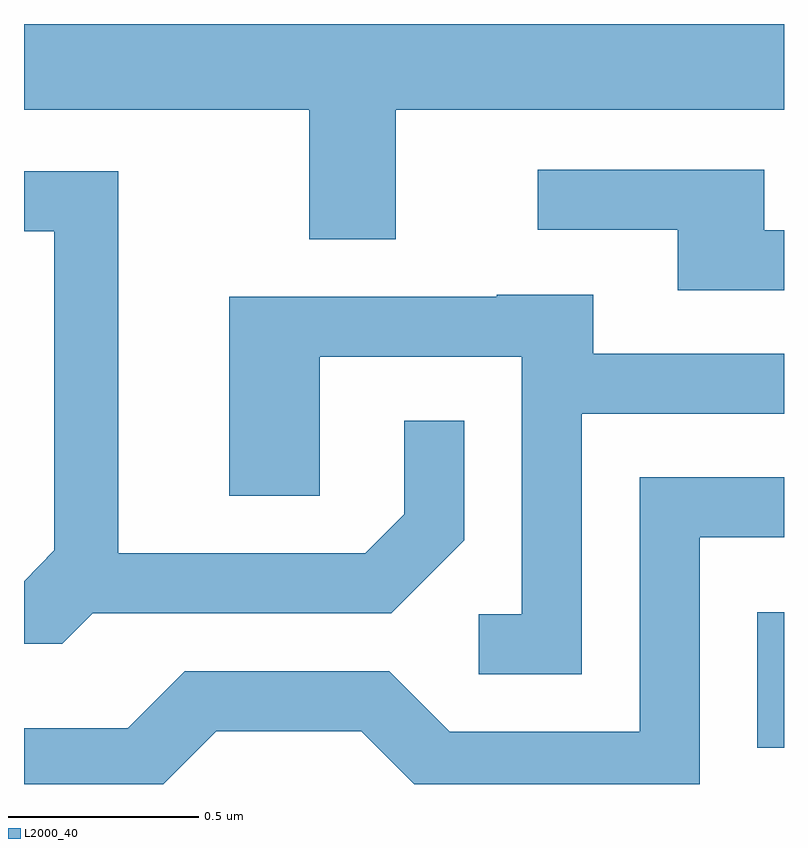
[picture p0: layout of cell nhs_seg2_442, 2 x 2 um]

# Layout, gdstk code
import gdstk
lib = gdstk.Library(unit=1e-6, precision=1e-09)
def R(c, l, rs):  # rectangles x0, y0, x1, y1
    for r in rs: c.add(gdstk.rectangle(r[:2], r[2:], *l))
def P(c, l, *ps):  # polygons
    for p in ps: c.add(gdstk.Polygon(p, *l))
L2000_40 = (2000, 40)

nhs_seg2_442 = lib.new_cell('nhs_seg2_442')
R(nhs_seg2_442, L2000_40, [(190.541,1008.898,190.611,1009.254)])
P(nhs_seg2_442, L2000_40, [(189.589,1010.576),(190.611,1010.576),(190.611,1010.802),(188.611,1010.802),(188.611,1010.576),(189.361,1010.576),(189.361,1010.236),(189.589,1010.236)],
  [(190.611,1010.259),(190.559,1010.259),(190.559,1010.419),(189.963,1010.419),(189.963,1010.261),(190.331,1010.261),(190.331,1010.101),(190.611,1010.101)],
  [(188.792,1009.251),(189.577,1009.251),(189.769,1009.444),(189.769,1009.758),(189.611,1009.758),(189.611,1009.512),(189.509,1009.409),(188.859,1009.409),(188.859,1010.414),(188.611,1010.414),(188.611,1010.256),(188.691,1010.256),(188.691,1009.417),(188.611,1009.336),(188.611,1009.171),(188.712,1009.171)],
  [(190.079,1009.776),(190.611,1009.776),(190.611,1009.934),(190.109,1009.934),(190.109,1010.089),(189.855,1010.089),(189.855,1010.084),(189.151,1010.084),(189.151,1009.561),(189.389,1009.561),(189.389,1009.926),(189.921,1009.926),(189.921,1009.249),(189.808,1009.249),(189.808,1009.091),(190.079,1009.091)],
  [(189.117,1008.941),(189.499,1008.941),(189.638,1008.802),(190.389,1008.802),(190.389,1009.451),(190.611,1009.451),(190.611,1009.609),(190.231,1009.609),(190.231,1008.939),(189.732,1008.939),(189.572,1009.099),(189.034,1009.099),(188.884,1008.949),(188.611,1008.949),(188.611,1008.802),(188.978,1008.802)])

lib.write_gds('nhs_seg2_442.gds')
